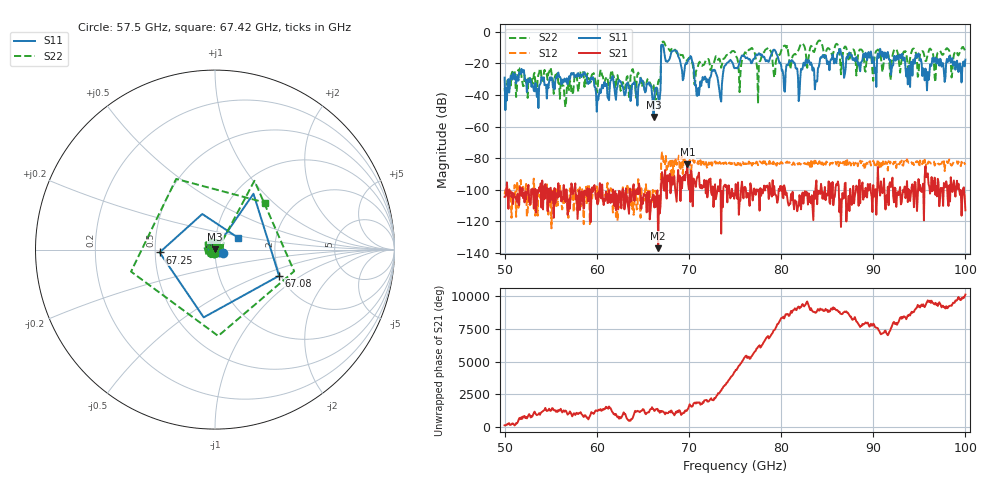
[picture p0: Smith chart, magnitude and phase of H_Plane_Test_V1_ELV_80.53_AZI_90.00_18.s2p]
! 11/27/2026 8:13:12 AM
! C:\ANRITSUVNA\TEMP\TEMP.S2P
! CHANNEL.1
! TR.MEASUREMENT
! RAW.DATA
# HZ S RI R 50.0
! FREQ.HZ  S11RE  S11IM  S21RE  S21IM  S12RE  S12IM  S22RE  S22IM
!; PortSelection: Port_12
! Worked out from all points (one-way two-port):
!   601 points, 50 GHz to 100 GHz, reference 50 ohm
!   highest |S21| = -83.80 dB at 69.83 GHz (marker M1); lowest = -137.0 dB at 66.67 GHz (marker M2)
!   lowest |S11| = -53.9 dB at 66.17 GHz (marker M3), VSWR 1.00, Z = 50.1 + j0.154 ohm
!   |S11| at or under -10 dB: start of sweep to 67 GHz; 67.24 GHz to end of sweep
!   |S22| runs from -47.7 to -5.6 dB; largest |S21 - S12| = 0.00014
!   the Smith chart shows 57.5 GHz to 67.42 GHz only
!   S11 on the Smith chart (normalised r, x): 57.5 GHz: 1.09, -0.04; 67.08 GHz: 1.96, -0.67; 67.25 GHz: 0.53, -0.02; 67.42 GHz: 1.29, +0.17
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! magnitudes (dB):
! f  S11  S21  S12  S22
! 50 GHz  -29.1  -104.5  -102.9  -35.7
! 51.67 GHz  -26.2  -98.3  -95.8  -23.1
! 53.42 GHz  -34.8  -114.3  -106.7  -35.3
! 57.5 GHz  -26.1  -101.0  -114.1  -34.4
! 58.42 GHz  -27.1  -106.8  -99.6  -24.7
! 60.17 GHz  -43.1  -101.6  -108.9  -30.2
! 66.17 GHz  -53.9  -103.2  -101.1  -33.9
! 66.67 GHz  -41.7  -137.0  -110.6  -31.6
! 67.08 GHz  -8.3  -88.8  -76.4  -6.8
! 67.25 GHz  -10.2  -99.3  -82.3  -6.3
! 67.42 GHz  -16.7  -87.5  -83.8  -8.3
! 69.83 GHz  -19.5  -83.8  -83.4  -18.5
! 70.92 GHz  -40.6  -91.7  -83.4  -22.9
! 75 GHz  -23.1  -103.1  -84.0  -13.0
! 79.25 GHz  -11.4  -97.6  -83.8  -28.9
! 80.25 GHz  -28.0  -105.3  -82.8  -9.3
! 83.42 GHz  -24.6  -111.1  -82.7  -10.9
! 91.67 GHz  -16.8  -109.7  -81.9  -15.3
! 93.75 GHz  -33.4  -107.7  -82.1  -21.7
! 94.83 GHz  -14.8  -102.6  -82.4  -28.6
! 95.83 GHz  -37.1  -90.3  -82.3  -16.4
! 100 GHz  -17.7  -113.0  -84.1  -12.6
